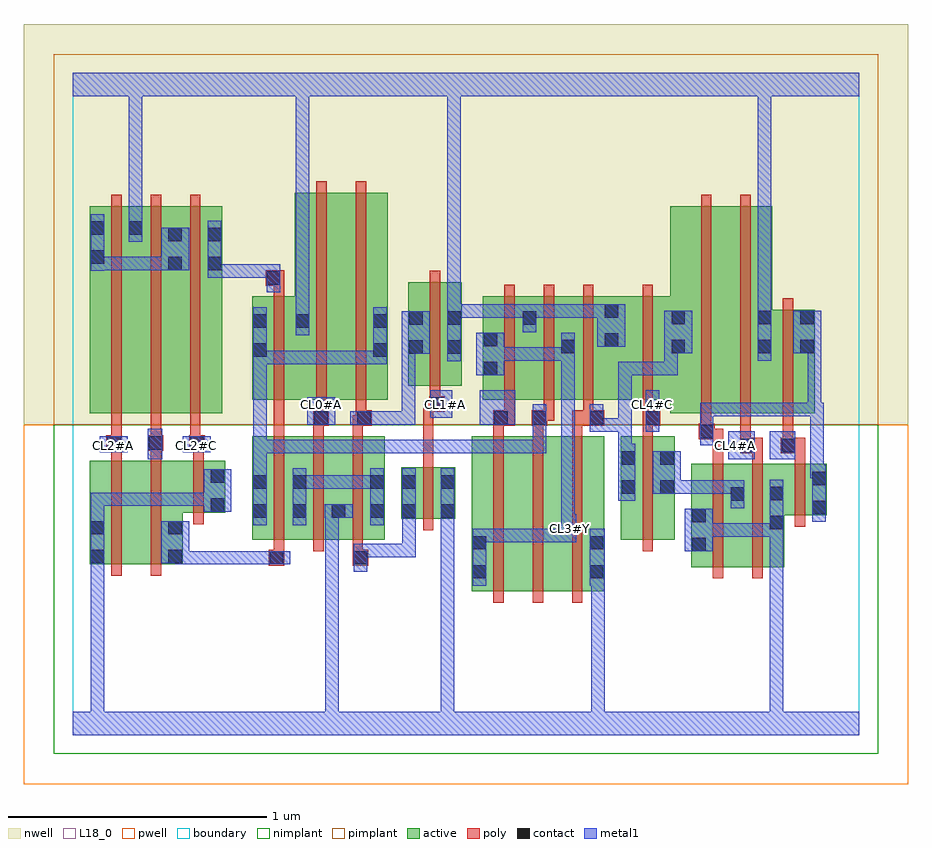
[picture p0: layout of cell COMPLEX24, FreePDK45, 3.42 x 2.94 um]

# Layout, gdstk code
import gdstk
lib = gdstk.Library(unit=1e-6, precision=1e-09)
def R(c, l, rs):  # rectangles x0, y0, x1, y1
    for r in rs: c.add(gdstk.rectangle(r[:2], r[2:], *l))
def A(c, l, x, y, w, h, nx, ny, dx, dy):  # array of equal rectangles
    R(c, l, [(x+i*dx, y+j*dy, x+i*dx+w, y+j*dy+h) for i in range(nx) for j in range(ny)])
active = (1, 0)
pwell = (2, 0)
nwell = (3, 0)
nimplant = (4, 0)
pimplant = (5, 0)
poly = (9, 0)
contact = (10, 0)
metal1 = (11, 0)
L18_0 = (18, 0)
boundary = (235, 0)

complex24 = lib.new_cell('COMPLEX24')
A(complex24, active, 0.694, 0.756, 0.06, 0.4, 3, 1, 0.152, 0)
A(complex24, active, 0.214, 1.244, 0.06, 0.8, 3, 1, 0.152, 0)
R(complex24, active, [(1.542,0.556,1.602,1.156), (1.542,0.556,1.722,1.156), (1.722,0.556,1.874,1.156), (1.874,0.556,2.054,1.156), (1.994,0.556,2.054,1.156), (2.39,0.65,2.45,1.05), (2.39,0.65,2.598,1.05), (2.538,0.65,2.598,1.05), (2.538,0.65,2.75,1.05), (2.69,0.65,2.75,1.05), (0.066,0.66,0.126,1.06), (0.066,0.66,0.246,1.06), (0.246,0.66,0.426,1.06), (0.366,0.66,0.426,0.904), (0.694,0.756,0.906,1.156), (0.846,0.756,1.058,1.156), (0.998,0.756,1.206,1.156), (1.146,0.756,1.206,1.156), (2.118,0.756,2.178,1.156), (2.118,0.756,2.326,1.156), (2.266,0.756,2.326,1.156), (1.27,0.836,1.33,1.036), (1.27,0.836,1.478,1.036), (1.418,0.836,1.478,1.036), (2.69,0.85,2.914,1.05), (2.854,0.85,2.914,1.05), (0.366,0.86,0.59,1.06), (0.53,0.86,0.59,1.06), (0.066,1.244,0.126,2.044), (0.066,1.244,0.274,2.044), (0.214,1.244,0.426,2.044), (0.366,1.244,0.578,2.044), (2.31,1.244,2.524,2.044), (2.524,1.244,2.704,2.044), (2.644,1.244,2.868,1.644), (2.644,1.244,2.704,2.044), (2.808,1.244,2.868,1.644), (0.694,1.296,0.754,1.696), (0.694,1.296,0.918,1.696), (0.858,1.296,0.918,2.096), (0.858,1.296,1.038,2.096), (1.038,1.296,1.218,2.096), (1.158,1.296,1.218,2.096), (1.584,1.296,1.796,1.696), (1.584,1.296,1.644,1.644), (1.736,1.296,1.944,1.696), (1.736,1.296,1.796,1.644), (1.884,1.296,2.112,1.696), (1.884,1.296,1.944,1.644), (2.052,1.296,2.112,1.696), (2.052,1.296,2.37,1.696), (2.31,1.296,2.37,2.044), (1.296,1.35,1.356,1.75), (1.296,1.35,1.504,1.75), (1.444,1.35,1.504,1.75)])
R(complex24, pwell, [(-0.188,-0.188,3.228,1.2)])
R(complex24, nwell, [(-0.188,1.2,3.228,2.748)])
R(complex24, nimplant, [(-0.072,-0.072,3.112,1.2)])
R(complex24, pimplant, [(-0.072,1.2,3.112,2.632)])
A(complex24, poly, 1.626, 0.512, 0.04, 0.688, 3, 1, 0.152, 0)
A(complex24, poly, 0.778, 0.712, 0.04, 0.488, 3, 1, 0.152, 0)
A(complex24, poly, 0.13, 1.1, 0.06, 0.06, 3, 1, 0.16, 0)
A(complex24, poly, 0.15, 1.12, 0.04, 0.12, 3, 1, 0.152, 0)
A(complex24, poly, 0.778, 1.16, 0.04, 0.076, 3, 1, 0.152, 0)
A(complex24, poly, 1.626, 1.16, 0.04, 0.076, 3, 1, 0.152, 0)
A(complex24, poly, 0.15, 1.2, 0.04, 0.888, 3, 1, 0.152, 0)
A(complex24, poly, 1.668, 1.216, 0.04, 0.076, 3, 1, 0.152, 0)
A(complex24, poly, 1.668, 1.252, 0.04, 0.488, 3, 1, 0.152, 0)
R(complex24, poly, [(2.474,0.606,2.514,1.094), (2.626,0.606,2.666,1.094), (0.15,0.616,0.19,1.104), (0.302,0.616,0.342,1.104), (0.758,0.656,0.818,0.716), (1.082,0.656,1.142,0.716), (0.778,0.676,0.818,0.752), (1.082,0.676,1.122,0.752), (2.202,0.712,2.242,1.2), (1.354,0.792,1.394,1.08), (2.79,0.806,2.83,1.094), (0.466,0.816,0.506,1.104), (1.354,1.04,1.394,1.29), (2.474,1.054,2.514,1.184), (2.626,1.054,2.666,1.13), (2.79,1.054,2.83,1.13), (0.15,1.064,0.19,1.14), (0.302,1.064,0.342,1.14), (0.466,1.064,0.506,1.14), (2.58,1.09,2.666,1.15), (2.736,1.09,2.83,1.15), (2.58,1.11,2.62,1.24), (2.58,1.11,2.62,1.15), (2.58,1.11,2.62,1.15), (2.744,1.11,2.784,1.24), (2.744,1.11,2.784,1.15), (2.744,1.11,2.784,1.15), (0.15,1.12,0.19,1.16), (0.15,1.12,0.19,1.16), (0.302,1.12,0.342,1.16), (0.302,1.12,0.342,1.16), (0.454,1.12,0.494,1.16), (0.454,1.12,0.494,1.16), (2.42,1.144,2.48,1.204), (2.44,1.144,2.48,1.184), (2.44,1.144,2.514,1.184), (2.202,1.16,2.242,1.236), (2.428,1.164,2.468,1.24), (0.778,1.196,0.818,1.236), (0.778,1.196,0.818,1.236), (0.778,1.196,0.818,1.236), (0.778,1.196,0.818,1.292), (0.93,1.196,0.97,1.236), (0.93,1.196,0.97,1.236), (0.93,1.196,0.99,1.256), (1.082,1.196,1.134,1.236), (1.094,1.196,1.134,1.236), (1.094,1.196,1.156,1.256), (1.626,1.196,1.666,1.236), (1.626,1.196,1.666,1.236), (1.626,1.196,1.708,1.256), (1.774,1.196,1.834,1.256), (1.93,1.196,2.054,1.256), (2.202,1.196,2.27,1.256), (2.428,1.2,2.468,2.088), (2.58,1.2,2.62,2.088), (2.744,1.2,2.784,1.688), (0.942,1.216,0.982,1.292), (1.094,1.216,1.134,1.292), (1.794,1.216,1.834,1.256), (1.794,1.216,1.86,1.256), (1.972,1.216,2.012,1.256), (1.972,1.216,2.012,1.256), (2.202,1.216,2.242,1.256), (2.202,1.216,2.242,1.256), (2.202,1.216,2.242,1.292), (1.354,1.25,1.418,1.29), (1.378,1.25,1.418,1.29), (1.378,1.25,1.438,1.31), (0.778,1.252,0.818,1.74), (0.942,1.252,0.982,2.14), (1.094,1.252,1.134,2.14), (2.202,1.252,2.242,1.74), (1.38,1.27,1.42,1.346), (1.38,1.306,1.42,1.794), (0.778,1.7,0.818,1.776), (0.746,1.736,0.818,1.796)])
A(complex24, contact, 0.698, 0.84, 0.052, 0.052, 3, 1, 0.152, 0)
A(complex24, contact, 0.134, 1.104, 0.052, 0.052, 3, 1, 0.16, 0)
R(complex24, contact, [(1.546,0.606,1.598,0.658), (1.998,0.606,2.05,0.658), (0.762,0.66,0.814,0.712), (1.086,0.66,1.138,0.712), (0.07,0.664,0.122,0.716), (0.37,0.664,0.422,0.716), (2.394,0.712,2.446,0.764), (1.546,0.718,1.598,0.77), (1.998,0.718,2.05,0.77), (0.07,0.776,0.122,0.828), (0.37,0.776,0.422,0.828), (2.694,0.796,2.746,0.848), (2.394,0.824,2.446,0.876), (1.15,0.84,1.202,0.892), (1.274,0.84,1.326,0.892), (1.422,0.84,1.474,0.892), (2.858,0.854,2.91,0.906), (0.534,0.864,0.586,0.916), (2.542,0.906,2.594,0.958), (2.694,0.908,2.746,0.96), (2.122,0.934,2.174,0.986), (2.27,0.934,2.322,0.986), (0.698,0.952,0.75,1.004), (0.85,0.952,0.902,1.004), (1.15,0.952,1.202,1.004), (1.274,0.952,1.326,1.004), (1.422,0.952,1.474,1.004), (2.858,0.966,2.91,1.018), (0.534,0.976,0.586,1.028), (2.122,1.046,2.174,1.098), (2.27,1.046,2.322,1.098), (2.584,1.094,2.636,1.146), (2.74,1.094,2.792,1.146), (2.424,1.148,2.476,1.2), (0.934,1.2,0.986,1.252), (1.1,1.2,1.152,1.252), (1.63,1.2,1.682,1.252), (1.778,1.2,1.83,1.252), (1.998,1.2,2.05,1.252), (2.214,1.2,2.266,1.252), (1.382,1.254,1.434,1.306), (1.588,1.392,1.64,1.444), (0.698,1.462,0.75,1.514), (1.162,1.462,1.214,1.514), (1.3,1.474,1.352,1.526), (1.448,1.474,1.5,1.526), (1.888,1.476,1.94,1.528), (2.314,1.476,2.366,1.528), (2.648,1.476,2.7,1.528), (2.812,1.476,2.864,1.528), (2.056,1.502,2.108,1.554), (1.588,1.504,1.64,1.556), (0.698,1.574,0.75,1.626), (0.862,1.574,0.914,1.626), (1.162,1.574,1.214,1.626), (1.3,1.586,1.352,1.638), (1.448,1.586,1.5,1.638), (1.74,1.586,1.792,1.638), (2.314,1.588,2.366,1.64), (2.648,1.588,2.7,1.64), (2.812,1.588,2.864,1.64), (2.056,1.614,2.108,1.666), (0.75,1.74,0.802,1.792), (0.37,1.796,0.422,1.848), (0.522,1.796,0.574,1.848), (0.07,1.822,0.122,1.874), (0.37,1.908,0.422,1.96), (0.522,1.908,0.574,1.96), (0.07,1.934,0.122,1.986), (0.218,1.934,0.27,1.986)])
R(complex24, metal1, [(0,0,3.04,0.092), (0.07,0.04,0.122,0.092), (0.07,0.04,0.122,0.092), (0.07,0.04,0.122,0.092), (0.07,0.04,0.122,0.092), (0.07,0.04,0.122,0.092), (0.07,0.04,0.122,0.092), (0.07,0.04,0.122,0.092), (0.07,0.04,0.122,0.092), (0.07,0.04,0.122,0.092), (0.07,0.04,0.122,0.092), (0.07,0.04,0.122,0.688), (0.976,0.04,1.028,0.092), (0.976,0.04,1.028,0.092), (0.976,0.04,1.028,0.092), (0.976,0.04,1.028,0.092), (0.976,0.04,1.028,0.092), (0.976,0.04,1.028,0.092), (0.976,0.04,1.028,0.092), (0.976,0.04,1.028,0.092), (0.976,0.04,1.028,0.092), (0.976,0.04,1.028,0.092), (0.976,0.04,1.028,0.092), (0.976,0.04,1.028,0.092), (0.976,0.04,1.028,0.892), (1.422,0.04,1.474,0.092), (1.422,0.04,1.474,0.092), (1.422,0.04,1.474,0.092), (1.422,0.04,1.474,0.092), (1.422,0.04,1.474,0.092), (1.422,0.04,1.474,0.092), (1.422,0.04,1.474,0.092), (1.422,0.04,1.474,0.092), (1.422,0.04,1.474,0.092), (1.422,0.04,1.474,0.092), (1.422,0.04,1.474,0.864), (2.004,0.04,2.056,0.092), (2.004,0.04,2.056,0.092), (2.004,0.04,2.056,0.092), (2.004,0.04,2.056,0.092), (2.004,0.04,2.056,0.092), (2.004,0.04,2.056,0.092), (2.004,0.04,2.056,0.63), (2.694,0.04,2.746,0.092), (2.694,0.04,2.746,0.092), (2.694,0.04,2.746,0.092), (2.694,0.04,2.746,0.092), (2.694,0.04,2.746,0.092), (2.694,0.04,2.746,0.092), (2.694,0.04,2.746,0.092), (2.694,0.04,2.746,0.092), (2.694,0.04,2.746,0.092), (2.694,0.04,2.746,0.092), (2.694,0.04,2.746,0.82), (1.546,0.578,1.598,0.798), (1.998,0.578,2.056,0.798), (2.004,0.578,2.056,0.63), (2.004,0.578,2.056,0.63), (1.086,0.632,1.138,0.74), (0.07,0.636,0.122,0.688), (0.07,0.636,0.122,0.688), (0.07,0.636,0.122,0.856), (0.396,0.66,0.56,0.712), (0.396,0.66,0.448,0.716), (0.508,0.66,0.56,0.712), (0.508,0.66,0.56,0.712), (0.508,0.66,0.56,0.712), (0.508,0.66,0.786,0.712), (0.734,0.66,0.786,0.712), (0.734,0.66,0.786,0.712), (0.734,0.66,0.842,0.712), (0.342,0.664,0.45,0.828), (0.396,0.664,0.448,0.716), (1.086,0.688,1.138,0.74), (1.086,0.688,1.138,0.74), (1.086,0.688,1.326,0.74), (1.274,0.688,1.326,0.74), (1.274,0.688,1.326,0.74), (1.274,0.688,1.326,0.74), (1.274,0.688,1.326,0.864), (2.366,0.712,2.474,0.876), (1.546,0.746,1.72,0.798), (1.668,0.746,1.72,0.798), (1.668,0.746,1.778,0.798), (1.726,0.746,1.778,0.798), (1.726,0.746,1.94,0.798), (1.888,0.746,1.94,0.798), (1.888,0.746,1.94,0.798), (1.888,0.746,1.94,0.798), (1.888,0.746,1.94,0.798), (1.888,0.746,1.946,0.854), (2.422,0.768,2.474,0.82), (2.422,0.768,2.474,0.82), (2.422,0.768,2.586,0.82), (2.534,0.768,2.586,0.82), (2.534,0.768,2.586,0.82), (2.534,0.768,2.586,0.82), (2.534,0.768,2.746,0.82), (2.694,0.768,2.746,0.82), (2.694,0.768,2.746,0.82), (2.694,0.768,2.746,0.988), (1.888,0.802,1.94,1.5), (0.07,0.804,0.122,0.856), (0.07,0.804,0.122,0.856), (0.07,0.804,0.122,0.856), (0.07,0.804,0.122,0.856), (0.07,0.804,0.122,0.938), (0.698,0.812,0.75,1.032), (0.85,0.812,0.902,1.032), (1.15,0.812,1.202,1.032), (1.274,0.812,1.326,0.864), (1.274,0.812,1.326,0.864), (1.274,0.812,1.326,1.032), (1.422,0.812,1.474,0.864), (1.422,0.812,1.474,0.864), (1.422,0.812,1.474,0.864), (1.422,0.812,1.474,0.864), (1.422,0.812,1.474,0.864), (1.422,0.812,1.474,0.864), (1.422,0.812,1.474,1.032), (2.858,0.826,2.91,1.046), (0.974,0.84,1.082,0.892), (0.506,0.864,0.614,1.028), (2.542,0.878,2.594,0.986), (0.07,0.886,0.122,0.938), (0.07,0.886,0.122,0.938), (0.07,0.886,0.122,0.938), (0.07,0.886,0.232,0.938), (0.18,0.886,0.232,0.938), (0.18,0.886,0.232,0.938), (0.18,0.886,0.232,0.938), (0.18,0.886,0.448,0.938), (0.396,0.886,0.448,0.938), (0.396,0.886,0.558,0.938), (0.506,0.886,0.558,0.938), (0.506,0.886,0.558,0.938), (2.108,0.906,2.174,1.126), (2.242,0.934,2.35,1.098), (2.298,0.934,2.45,0.986), (2.398,0.934,2.45,0.986), (2.398,0.934,2.476,0.986), (2.424,0.934,2.476,0.986), (2.424,0.934,2.594,0.986), (0.85,0.952,0.902,1.004), (0.85,0.952,0.902,1.004), (0.85,0.952,1.026,1.004), (0.974,0.952,1.026,1.004), (0.974,0.952,1.202,1.004), (1.15,0.952,1.202,1.004), (1.15,0.952,1.202,1.004), (0.698,0.98,0.75,1.142), (2.85,0.994,2.902,1.284), (2.85,0.994,2.91,1.046), (2.858,0.994,2.91,1.046), (0.29,1.066,0.346,1.184), (2.534,1.066,2.636,1.174), (2.694,1.066,2.792,1.174), (2.108,1.074,2.16,1.224), (0.698,1.09,0.75,1.142), (0.698,1.09,0.75,1.142), (0.698,1.09,0.75,1.142), (0.698,1.09,0.75,1.142), (0.698,1.09,0.75,1.142), (0.698,1.09,0.916,1.142), (0.698,1.09,0.75,1.486), (0.864,1.09,0.916,1.142), (0.864,1.09,0.916,1.142), (0.864,1.09,0.916,1.142), (0.864,1.09,1.026,1.142), (0.974,1.09,1.026,1.142), (0.974,1.09,1.026,1.142), (0.974,1.09,1.026,1.142), (0.974,1.09,1.254,1.142), (1.202,1.09,1.254,1.142), (1.202,1.09,1.364,1.142), (1.312,1.09,1.364,1.142), (1.312,1.09,1.364,1.142), (1.312,1.09,1.364,1.142), (1.312,1.09,1.474,1.142), (1.422,1.09,1.474,1.142), (1.422,1.09,1.474,1.142), (1.422,1.09,1.474,1.142), (1.422,1.09,1.61,1.142), (1.558,1.09,1.61,1.142), (1.558,1.09,1.83,1.142), (1.778,1.09,1.83,1.224), (0.106,1.094,0.214,1.156), (0.426,1.094,0.534,1.156), (2.424,1.12,2.476,1.284), (1.778,1.172,1.83,1.224), (1.778,1.172,1.83,1.28), (1.998,1.172,2.05,1.28), (1.998,1.172,2.056,1.224), (2.004,1.172,2.056,1.224), (2.004,1.172,2.16,1.224), (2.108,1.172,2.16,1.224), (2.108,1.172,2.16,1.444), (2.214,1.172,2.266,1.334), (0.906,1.2,1.014,1.306), (1.072,1.2,1.18,1.252), (1.128,1.2,1.18,1.252), (1.128,1.2,1.18,1.252), (1.128,1.2,1.324,1.252), (1.272,1.2,1.324,1.252), (1.272,1.2,1.324,1.526), (1.574,1.2,1.71,1.334), (1.382,1.226,1.466,1.334), (2.424,1.232,2.586,1.284), (2.534,1.232,2.586,1.284), (2.534,1.232,2.586,1.284), (2.534,1.232,2.586,1.284), (2.534,1.232,2.696,1.284), (2.644,1.232,2.892,1.284), (2.644,1.232,2.696,1.284), (2.644,1.232,2.696,1.284), (2.644,1.232,2.696,1.284), (2.84,1.232,2.892,1.528), (2.84,1.232,2.902,1.284), (1.56,1.392,1.668,1.556), (2.108,1.392,2.16,1.444), (2.108,1.392,2.308,1.444), (2.256,1.392,2.308,1.444), (2.256,1.392,2.338,1.444), (2.286,1.392,2.338,1.444), (2.286,1.392,2.338,1.528), (0.698,1.434,0.75,1.486), (0.698,1.434,0.75,1.486), (0.698,1.434,0.75,1.654), (0.698,1.434,0.916,1.486), (0.864,1.434,0.916,1.486), (0.864,1.434,0.916,1.486), (0.864,1.434,0.916,1.486), (0.864,1.434,1.026,1.486), (0.974,1.434,1.026,1.486), (0.974,1.434,1.026,1.486), (0.974,1.434,1.026,1.486), (0.974,1.434,1.214,1.486), (1.162,1.434,1.214,1.654), (1.448,1.446,1.5,1.666), (1.616,1.448,1.668,1.5), (1.616,1.448,1.668,1.5), (1.616,1.448,1.83,1.5), (1.778,1.448,1.83,1.5), (1.778,1.448,1.83,1.5), (1.778,1.448,1.83,1.5), (1.778,1.448,1.94,1.5), (1.888,1.448,1.94,1.5), (1.888,1.448,1.94,1.5), (1.888,1.448,1.94,1.556), (2.648,1.448,2.7,1.668), (1.272,1.474,1.38,1.638), (2.286,1.476,2.394,1.64), (2.784,1.476,2.892,1.64), (2.028,1.502,2.136,1.666), (0.862,1.546,0.914,1.654), (1.74,1.558,1.792,1.666), (0.862,1.602,0.914,2.52), (1.448,1.614,1.5,1.666), (1.448,1.614,1.5,1.666), (1.448,1.614,1.5,1.666), (1.448,1.614,1.5,1.666), (1.448,1.614,1.5,1.666), (1.448,1.614,1.5,1.666), (1.448,1.614,1.5,1.666), (1.448,1.614,1.5,1.666), (1.448,1.614,1.5,1.666), (1.448,1.614,1.5,1.666), (1.448,1.614,1.61,1.666), (1.448,1.614,1.5,2.52), (1.558,1.614,1.61,1.666), (1.558,1.614,1.792,1.666), (1.74,1.614,1.94,1.666), (1.888,1.614,1.94,1.666), (1.888,1.614,1.94,1.666), (1.888,1.614,1.94,1.666), (1.888,1.614,2.05,1.666), (1.998,1.614,2.05,1.666), (1.998,1.614,2.08,1.666), (2.648,1.616,2.7,2.52), (0.75,1.712,0.802,1.82), (0.522,1.768,0.574,1.988), (0.522,1.768,0.67,1.82), (0.618,1.768,0.67,1.82), (0.618,1.768,0.802,1.82), (0.07,1.794,0.122,2.014), (0.07,1.796,0.122,1.848), (0.07,1.796,0.122,1.848), (0.07,1.796,0.232,1.848), (0.18,1.796,0.232,1.848), (0.18,1.796,0.232,1.848), (0.18,1.796,0.232,1.848), (0.18,1.796,0.394,1.848), (0.342,1.796,0.45,1.96), (0.218,1.906,0.27,2.014), (0.218,1.962,0.27,2.52), (0,2.468,3.04,2.56), (0.218,2.468,0.27,2.52), (0.218,2.468,0.27,2.52), (0.218,2.468,0.27,2.52), (0.218,2.468,0.27,2.52), (0.218,2.468,0.27,2.52), (0.218,2.468,0.27,2.52), (0.218,2.468,0.27,2.52), (0.218,2.468,0.27,2.52), (0.862,2.468,0.914,2.52), (0.862,2.468,0.914,2.52), (0.862,2.468,0.914,2.52), (0.862,2.468,0.914,2.52), (0.862,2.468,0.914,2.52), (0.862,2.468,0.914,2.52), (0.862,2.468,0.914,2.52), (0.862,2.468,0.914,2.52), (1.448,2.468,1.5,2.52), (1.448,2.468,1.5,2.52), (1.448,2.468,1.5,2.52), (1.448,2.468,1.5,2.52), (1.448,2.468,1.5,2.52), (1.448,2.468,1.5,2.52), (1.448,2.468,1.5,2.52), (1.448,2.468,1.5,2.52), (2.648,2.468,2.7,2.52), (2.648,2.468,2.7,2.52), (2.648,2.468,2.7,2.52), (2.648,2.468,2.7,2.52), (2.648,2.468,2.7,2.52), (2.648,2.468,2.7,2.52), (2.648,2.468,2.7,2.52), (2.648,2.468,2.7,2.52)])
A(complex24, L18_0, 0.134, 1.094, 0.052, 0.052, 3, 1, 0.16, 0)
R(complex24, L18_0, [(0,0,3.04,0.092), (0.07,0.04,0.122,0.092), (0.07,0.04,0.122,0.092), (0.07,0.04,0.122,0.092), (0.07,0.04,0.122,0.092), (0.07,0.04,0.122,0.092), (0.07,0.04,0.122,0.092), (0.07,0.04,0.122,0.092), (0.07,0.04,0.122,0.092), (0.07,0.04,0.122,0.092), (0.07,0.04,0.122,0.092), (0.07,0.04,0.122,0.688), (0.976,0.04,1.028,0.092), (0.976,0.04,1.028,0.092), (0.976,0.04,1.028,0.092), (0.976,0.04,1.028,0.092), (0.976,0.04,1.028,0.092), (0.976,0.04,1.028,0.092), (0.976,0.04,1.028,0.092), (0.976,0.04,1.028,0.092), (0.976,0.04,1.028,0.092), (0.976,0.04,1.028,0.092), (0.976,0.04,1.028,0.092), (0.976,0.04,1.028,0.092), (0.976,0.04,1.028,0.892), (1.422,0.04,1.474,0.092), (1.422,0.04,1.474,0.092), (1.422,0.04,1.474,0.092), (1.422,0.04,1.474,0.092), (1.422,0.04,1.474,0.092), (1.422,0.04,1.474,0.092), (1.422,0.04,1.474,0.092), (1.422,0.04,1.474,0.092), (1.422,0.04,1.474,0.092), (1.422,0.04,1.474,0.092), (1.422,0.04,1.474,0.864), (2.004,0.04,2.056,0.092), (2.004,0.04,2.056,0.092), (2.004,0.04,2.056,0.092), (2.004,0.04,2.056,0.092), (2.004,0.04,2.056,0.092), (2.004,0.04,2.056,0.092), (2.004,0.04,2.056,0.63), (2.694,0.04,2.746,0.092), (2.694,0.04,2.746,0.092), (2.694,0.04,2.746,0.092), (2.694,0.04,2.746,0.092), (2.694,0.04,2.746,0.092), (2.694,0.04,2.746,0.092), (2.694,0.04,2.746,0.092), (2.694,0.04,2.746,0.092), (2.694,0.04,2.746,0.092), (2.694,0.04,2.746,0.092), (2.694,0.04,2.746,0.82), (1.546,0.578,1.598,0.798), (1.998,0.578,2.056,0.798), (2.004,0.578,2.056,0.63), (2.004,0.578,2.056,0.63), (0.07,0.636,0.122,0.688), (0.07,0.636,0.122,0.688), (0.07,0.636,0.122,0.856), (2.366,0.712,2.474,0.876), (1.546,0.746,1.72,0.798), (1.668,0.746,1.72,0.798), (1.668,0.746,1.778,0.798), (1.726,0.746,1.778,0.798), (1.726,0.746,1.94,0.798), (1.888,0.746,1.94,0.798), (1.888,0.746,1.94,0.798), (1.888,0.746,1.94,0.798), (1.888,0.746,1.94,0.798), (1.888,0.746,1.946,0.854), (2.422,0.768,2.474,0.82), (2.422,0.768,2.474,0.82), (2.422,0.768,2.586,0.82), (2.534,0.768,2.586,0.82), (2.534,0.768,2.586,0.82), (2.534,0.768,2.586,0.82), (2.534,0.768,2.746,0.82), (2.694,0.768,2.746,0.82), (2.694,0.768,2.746,0.82), (2.694,0.768,2.746,0.988), (1.894,0.774,1.946,0.826), (1.888,0.802,1.94,1.5), (0.07,0.804,0.122,0.856), (0.07,0.804,0.122,0.856), (0.07,0.804,0.122,0.856), (0.07,0.804,0.122,0.856), (0.07,0.804,0.122,0.938), (1.422,0.812,1.474,0.864), (1.422,0.812,1.474,0.864), (1.422,0.812,1.474,0.864), (1.422,0.812,1.474,0.864), (1.422,0.812,1.474,0.864), (1.422,0.812,1.474,0.864), (1.422,0.812,1.474,1.032), (0.974,0.84,1.082,0.892), (0.506,0.864,0.614,1.028), (0.07,0.886,0.122,0.938), (0.07,0.886,0.122,0.938), (0.07,0.886,0.122,0.938), (0.07,0.886,0.232,0.938), (0.18,0.886,0.232,0.938), (0.18,0.886,0.232,0.938), (0.18,0.886,0.232,0.938), (0.18,0.886,0.448,0.938), (0.396,0.886,0.448,0.938), (0.396,0.886,0.558,0.938), (0.506,0.886,0.558,0.938), (0.506,0.886,0.558,0.938), (0.29,1.066,0.346,1.184), (2.534,1.066,2.636,1.174), (2.694,1.066,2.792,1.174), (0.106,1.094,0.214,1.156), (0.426,1.094,0.534,1.156), (2.534,1.094,2.586,1.146), (2.694,1.094,2.746,1.146), (2.214,1.172,2.266,1.334), (0.906,1.2,1.014,1.306), (1.574,1.2,1.71,1.334), (1.382,1.226,1.466,1.334), (0.934,1.254,0.986,1.306), (1.414,1.254,1.466,1.306), (1.574,1.254,1.626,1.306), (2.214,1.254,2.266,1.306), (1.56,1.392,1.668,1.556), (1.448,1.446,1.5,1.666), (1.616,1.448,1.668,1.5), (1.616,1.448,1.668,1.5), (1.616,1.448,1.83,1.5), (1.778,1.448,1.83,1.5), (1.778,1.448,1.83,1.5), (1.778,1.448,1.83,1.5), (1.778,1.448,1.94,1.5), (1.888,1.448,1.94,1.5), (1.888,1.448,1.94,1.5), (1.888,1.448,1.94,1.556), (2.648,1.448,2.7,1.668), (2.028,1.502,2.136,1.666), (0.862,1.546,0.914,1.654), (1.74,1.558,1.792,1.666), (0.862,1.602,0.914,2.52), (1.448,1.614,1.5,1.666), (1.448,1.614,1.5,1.666), (1.448,1.614,1.5,1.666), (1.448,1.614,1.5,1.666), (1.448,1.614,1.5,1.666), (1.448,1.614,1.5,1.666), (1.448,1.614,1.5,1.666), (1.448,1.614,1.5,1.666), (1.448,1.614,1.5,1.666), (1.448,1.614,1.5,1.666), (1.448,1.614,1.61,1.666), (1.448,1.614,1.5,2.52), (1.558,1.614,1.61,1.666), (1.558,1.614,1.792,1.666), (1.74,1.614,1.94,1.666), (1.888,1.614,1.94,1.666), (1.888,1.614,1.94,1.666), (1.888,1.614,1.94,1.666), (1.888,1.614,2.05,1.666), (1.998,1.614,2.05,1.666), (1.998,1.614,2.08,1.666), (2.648,1.616,2.7,2.52), (0.218,1.906,0.27,2.014), (0.218,1.962,0.27,2.52), (0,2.468,3.04,2.56), (0.218,2.468,0.27,2.52), (0.218,2.468,0.27,2.52), (0.218,2.468,0.27,2.52), (0.218,2.468,0.27,2.52), (0.218,2.468,0.27,2.52), (0.218,2.468,0.27,2.52), (0.218,2.468,0.27,2.52), (0.218,2.468,0.27,2.52), (0.862,2.468,0.914,2.52), (0.862,2.468,0.914,2.52), (0.862,2.468,0.914,2.52), (0.862,2.468,0.914,2.52), (0.862,2.468,0.914,2.52), (0.862,2.468,0.914,2.52), (0.862,2.468,0.914,2.52), (0.862,2.468,0.914,2.52), (1.448,2.468,1.5,2.52), (1.448,2.468,1.5,2.52), (1.448,2.468,1.5,2.52), (1.448,2.468,1.5,2.52), (1.448,2.468,1.5,2.52), (1.448,2.468,1.5,2.52), (1.448,2.468,1.5,2.52), (1.448,2.468,1.5,2.52), (2.648,2.468,2.7,2.52), (2.648,2.468,2.7,2.52), (2.648,2.468,2.7,2.52), (2.648,2.468,2.7,2.52), (2.648,2.468,2.7,2.52), (2.648,2.468,2.7,2.52), (2.648,2.468,2.7,2.52), (2.648,2.468,2.7,2.52)])
R(complex24, boundary, [(0,0,3.04,2.56)])
complex24.add(gdstk.Label('CL0#A', (0.96,1.28), layer=11, texttype=0))
complex24.add(gdstk.Label('CL1#A', (1.44,1.28), layer=11, texttype=0))
complex24.add(gdstk.Label('CL2#A', (0.16,1.12), layer=11, texttype=0))
complex24.add(gdstk.Label('CL2#B', (0.32,1.12), layer=11, texttype=0))
complex24.add(gdstk.Label('CL2#C', (0.48,1.12), layer=11, texttype=0))
complex24.add(gdstk.Label('CL3#C', (1.6,1.28), layer=11, texttype=0))
complex24.add(gdstk.Label('CL3#Y', (1.92,0.8), layer=11, texttype=0))
complex24.add(gdstk.Label('CL4#A', (2.56,1.12), layer=11, texttype=0))
complex24.add(gdstk.Label('CL4#C', (2.24,1.28), layer=11, texttype=0))
complex24.add(gdstk.Label('CL5#A', (2.72,1.12), layer=11, texttype=0))

lib.write_gds('COMPLEX24.gds')
